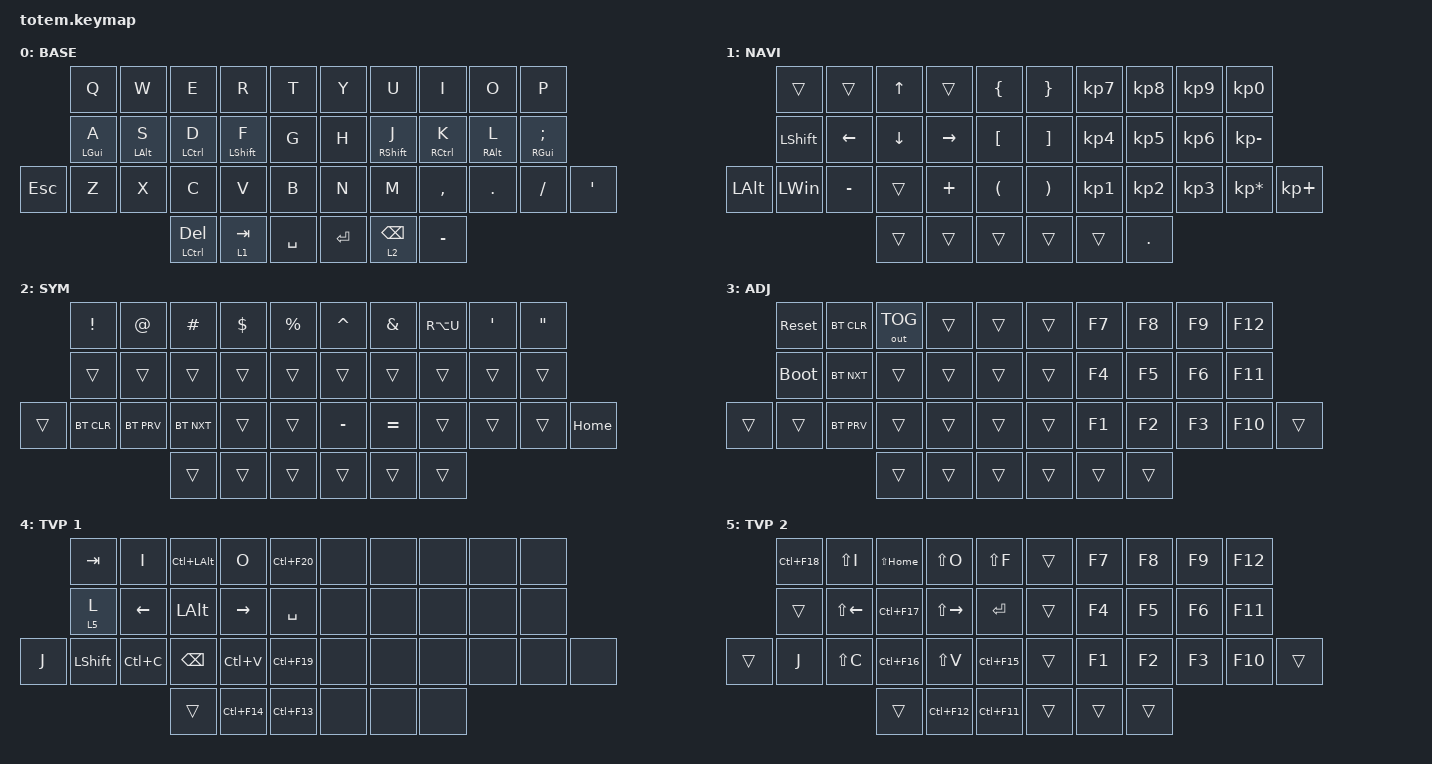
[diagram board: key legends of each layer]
//
//                                                        ▀▀▀▀▀     ▀▀▀▀▀          ▀▀█▀▀
//                                                        ▄▀▀▀▄  ▄  ▄▀▀▀▄  ▄  ▄▀▀▀▄  █  ▄▀▀▀▄
//                                                        █   █  █  █   █  █  █   █  █  █   █
//                                                         ▀▀▀   █   ▀▀▀   █   ▀▀▀   ▀   ▀▀▀
//                                                               █      ▄▄▄█▄▄▄    █   █  
//                                                               ▀      █  █  █     █▄█
//                                                             ▀▀▀▀▀    █  █  █      ▀
//                                                                      ▀  ▀  ▀
//
// ▄▄▄▄▄▄▄▄▄▄▄▄▄▄▄▄▄▄▄▄▄▄▄▄▄▄▄▄▄▄▄▄▄▄▄▄▄▄▄▄▄▄▄▄▄▄▄▄▄▄▄▄▄▄▄▄▄▄▄▄▄▄▄▄▄▄▄▄▄▄▄▄▄▄▄▄▄▄▄▄▄▄▄▄▄▄▄▄▄▄▄▄▄▄▄▄▄▄▄▄▄▄▄▄▄▄▄▄▄▄▄▄▄▄▄▄▄▄▄▄▄▄▄▄▄▄▄▄▄▄▄▄▄▄▄▄▄▄▄▄▄▄▄▄▄▄▄▄▄

#include <behaviors.dtsi>
#include <dt-bindings/zmk/bt.h>
#include <dt-bindings/zmk/keys.h>
#include <dt-bindings/zmk/outputs.h>

#define BASE 0
#define NAV  1
#define SYM  2
#define ADJ  3
#define TVP1 4
#define TVP2 5

&mt {
    quick-tap-ms = <100>;
    global-quick-tap;
    flavor = "tap-preferred";
    tapping-term-ms = <170>;
};

/ {
    combos {
        compatible = "zmk,combos";

        combo_esc {
            timeout-ms = <50>;
            key-positions = <0 1>;
            bindings = <&kp ESC>;
        };

        combo_tvp {
            timeout-ms = <100>;
            key-positions = <11 12 13>;
            bindings = <&tog 4>;
        };
    };

    macros {
        gif: gif {
            label = "giphy";
            compatible = "zmk,behavior-macro";
            #binding-cells = <0>;
            bindings =
                <&macro_press>,
                <&kp LSHFT>,
                <&macro_tap>,
                <&kp N2>,
                <&macro_release>,
                <&kp LSHFT>,
                <&macro_tap>,
                <&kp G &kp I &kp F>;
        };
    };

    keymap {
        compatible = "zmk,keymap";

        // ▄▄▄▄▄▄▄▄▄▄▄▄▄▄▄▄▄▄▄▄▄▄▄▄▄▄▄▄▄▄▄▄▄▄▄▄▄▄▄▄▄▄▄▄▄▄▄▄▄▄▄▄▄▄▄▄▄▄▄▄▄▄▄▄▄▄▄▄▄▄▄▄▄▄▄▄▄▄▄▄▄▄▄▄▄▄▄▄▄▄▄▄▄▄▄▄▄▄▄▄▄▄▄▄▄▄▄▄▄▄▄▄▄▄▄▄▄▄▄▄▄▄▄▄▄▄▄▄▄▄▄▄▄▄▄▄▄▄▄▄▄▄▄▄▄▄▄▄▄

        base_layer {
            // ┏━━━━━━━━━━━━━━━━━━━━━━━━━━━━━━━━━━━━━━━┓

            label = "BASE";

            // ┗━━━━━━━━━━━━━━━━━━━━━━━━━━━━━━━━━━━━━━━┛
            //             ┏━━━━━━━━━━━┳━━━━━━━━━━━┳━━━━━━━━━━━┳━━━━━━━━━━━┳━━━━━━━━━━━┓   ┏━━━━━━━━━━━┳━━━━━━━━━━━┳━━━━━━━━━━━┳━━━━━━━━━━━┳━━━━━━━━━━━┓
            //             ┃     Q     ┃     W     ┃     F     ┃     P     ┃     G     ┃   ┃     J     ┃     L     ┃     U     ┃     Y     ┃     ;     ┃
            //             ┣━━━━━━━━━━━╋━━━━━━━━━━━╋━━━━━━━━━━━╋━━━━━━━━━━━╋━━━━━━━━━━━┫   ┣━━━━━━━━━━━╋━━━━━━━━━━━╋━━━━━━━━━━━╋━━━━━━━━━━━╋━━━━━━━━━━━┫
            //             ┃     A     ┃     R     ┃     S     ┃     T     ┃     D     ┃   ┃     H     ┃     N     ┃     E     ┃     I     ┃     O     ┃
            // ┏━━━━━━━━━━━╋━━━━━━━━━━━╋━━━━━━━━━━━╋━━━━━━━━━━━╋━━━━━━━━━━━╋━━━━━━━━━━━┫   ┣━━━━━━━━━━━╋━━━━━━━━━━━╋━━━━━━━━━━━╋━━━━━━━━━━━╋━━━━━━━━━━━╋━━━━━━━━━━━┓
            // ┃     Q     ┃     Z     ┃     X     ┃     C     ┃     V     ┃     B     ┃   ┃     K     ┃     M     ┃     ,     ┃     .     ┃     /     ┃     \     ┃
            // ┗━━━━━━━━━━━┻━━━━━━━━━━━┻━━━━━━━━━━━╋━━━━━━━━━━━╋━━━━━━━━━━━╋━━━━━━━━━━━┫   ┣━━━━━━━━━━━╋━━━━━━━━━━━╋━━━━━━━━━━━╋━━━━━━━━━━━┻━━━━━━━━━━━┻━━━━━━━━━━━┛
            //                                     ┃    DEL    ┃    TAB    ┃    SPC    ┃   ┃   ENTER   ┃           ┃   BSPC    ┃
            //                                     ┗━━━━━━━━━━━┻━━━━━━━━━━━┻━━━━━━━━━━━┛   ┗━━━━━━━━━━━┻━━━━━━━━━━━┻━━━━━━━━━━━┛

            bindings = <
            &kp Q       &kp W       &kp E             &kp R        &kp T        &kp Y    &kp U            &kp I        &kp O       &kp P
            &mt LGUI A  &mt LALT S  &mt LCTRL D       &mt LSHFT F  &kp G        &kp H    &mt RSHFT J      &mt RCTRL K  &mt RALT L  &mt RGUI SEMICOLON
&kp ESCAPE  &kp Z       &kp X       &kp C             &kp V        &kp B        &kp N    &kp M            &kp COMMA    &kp DOT     &kp FSLH            &kp SQT
                                    &mt LCTRL DELETE  &lt 1 TAB    &kp SPACE    &kp RET  &lt 2 BACKSPACE  &kp MINUS
            >;
        };

        // ▄▄▄▄▄▄▄▄▄▄▄▄▄▄▄▄▄▄▄▄▄▄▄▄▄▄▄▄▄▄▄▄▄▄▄▄▄▄▄▄▄▄▄▄▄▄▄▄▄▄▄▄▄▄▄▄▄▄▄▄▄▄▄▄▄▄▄▄▄▄▄▄▄▄▄▄▄▄▄▄▄▄▄▄▄▄▄▄▄▄▄▄▄▄▄▄▄▄▄▄▄▄▄▄▄▄▄▄▄▄▄▄▄▄▄▄▄▄▄▄▄▄▄▄▄▄▄▄▄▄▄▄▄▄▄▄▄▄▄▄▄▄▄▄▄▄▄▄▄

        nav_layer {
            // ┏━━━━━━━━━━━━━━━━━━━━━━━━━━━━━━━━━━━━━━━┓

            label = "NAVI";

            // ┗━━━━━━━━━━━━━━━━━━━━━━━━━━━━━━━━━━━━━━━┛
            //             ┏━━━━━━━━━━━┳━━━━━━━━━━━┳━━━━━━━━━━━┳━━━━━━━━━━━┳━━━━━━━━━━━┓   ┏━━━━━━━━━━━┳━━━━━━━━━━━┳━━━━━━━━━━━┳━━━━━━━━━━━┳━━━━━━━━━━━┓
            //             ┃           ┃           ┃     UP    ┃           ┃     {     ┃   ┃     }     ┃     7     ┃     8     ┃     9     ┃     +     ┃
            //             ┣━━━━━━━━━━━╋━━━━━━━━━━━╋━━━━━━━━━━━╋━━━━━━━━━━━╋━━━━━━━━━━━┫   ┣━━━━━━━━━━━╋━━━━━━━━━━━╋━━━━━━━━━━━╋━━━━━━━━━━━╋━━━━━━━━━━━┫
            //             ┃   SHIFT   ┃   LEFT    ┃    DOWN   ┃   RIGHT   ┃     [     ┃   ┃     ]     ┃     4     ┃     5     ┃     6     ┃     -     ┃
            // ┏━━━━━━━━━━━╋━━━━━━━━━━━╋━━━━━━━━━━━╋━━━━━━━━━━━╋━━━━━━━━━━━╋━━━━━━━━━━━┫   ┣━━━━━━━━━━━╋━━━━━━━━━━━╋━━━━━━━━━━━╋━━━━━━━━━━━╋━━━━━━━━━━━╋━━━━━━━━━━━┓
            // ┃           ┃           ┃   P UP    ┃  C LOCK   ┃  P DOWN   ┃     (     ┃   ┃     )     ┃     1     ┃     2     ┃     3     ┃     *     ┃           ┃
            // ┗━━━━━━━━━━━┻━━━━━━━━━━━┻━━━━━━━━━━━╋━━━━━━━━━━━╋━━━━━━━━━━━╋━━━━━━━━━━━┫   ┣━━━━━━━━━━━╋━━━━━━━━━━━╋━━━━━━━━━━━╋━━━━━━━━━━━┻━━━━━━━━━━━┻━━━━━━━━━━━┛
            //                                     ┃           ┃    TAB    ┃    SPC    ┃   ┃    DEL    ┃     0     ┃           ┃
            //                                     ┗━━━━━━━━━━━┻━━━━━━━━━━━┻━━━━━━━━━━━┛   ┗━━━━━━━━━━━┻━━━━━━━━━━━┻━━━━━━━━━━━┛

            bindings = <
              &trans        &trans     &kp UP    &trans     &kp LBRC    &kp RBRC  &kp KP_N7  &kp KP_N8   &kp KP_N9  &kp KP_NUMBER_0
              &kp LSHFT     &kp LEFT   &kp DOWN  &kp RIGHT  &kp LBKT    &kp RBKT  &kp KP_N4  &kp KP_N5   &kp KP_N6  &kp KP_MINUS
&kp LEFT_ALT  &kp LEFT_WIN  &kp MINUS  &trans    &kp PLUS   &kp LPAR    &kp RPAR  &kp KP_N1  &kp KP_N2   &kp KP_N3  &kp KP_MULTIPLY  &kp KP_PLUS
                                       &trans    &trans     &trans      &trans    &trans     &kp PERIOD
            >;
        };

        // ▄▄▄▄▄▄▄▄▄▄▄▄▄▄▄▄▄▄▄▄▄▄▄▄▄▄▄▄▄▄▄▄▄▄▄▄▄▄▄▄▄▄▄▄▄▄▄▄▄▄▄▄▄▄▄▄▄▄▄▄▄▄▄▄▄▄▄▄▄▄▄▄▄▄▄▄▄▄▄▄▄▄▄▄▄▄▄▄▄▄▄▄▄▄▄▄▄▄▄▄▄▄▄▄▄▄▄▄▄▄▄▄▄▄▄▄▄▄▄▄▄▄▄▄▄▄▄▄▄▄▄▄▄▄▄▄▄▄▄▄▄▄▄▄▄▄▄▄▄

        sim_layer {
            // ┏━━━━━━━━━━━━━━━━━━━━━━━━━━━━━━━━━━━━━━━┓

            label = "SYM";

            // ┗━━━━━━━━━━━━━━━━━━━━━━━━━━━━━━━━━━━━━━━┛
            //             ┏━━━━━━━━━━━┳━━━━━━━━━━━┳━━━━━━━━━━━┳━━━━━━━━━━━┳━━━━━━━━━━━┓   ┏━━━━━━━━━━━┳━━━━━━━━━━━┳━━━━━━━━━━━┳━━━━━━━━━━━┳━━━━━━━━━━━┓
            //             ┃     !     ┃     @     ┃     #     ┃     $     ┃     %     ┃   ┃     ˆ     ┃     &     ┃     Ü     ┃     '     ┃     "     ┃
            //             ┣━━━━━━━━━━━╋━━━━━━━━━━━╋━━━━━━━━━━━╋━━━━━━━━━━━╋━━━━━━━━━━━┫   ┣━━━━━━━━━━━╋━━━━━━━━━━━╋━━━━━━━━━━━╋━━━━━━━━━━━╋━━━━━━━━━━━┫
            //             ┃     Ä     ┃           ┃    SZ     ┃           ┃           ┃   ┃   MUTE    ┃   YEN     ┃   EURO    ┃  POUND    ┃     Ö     ┃
            // ┏━━━━━━━━━━━╋━━━━━━━━━━━╋━━━━━━━━━━━╋━━━━━━━━━━━╋━━━━━━━━━━━╋━━━━━━━━━━━┫   ┣━━━━━━━━━━━╋━━━━━━━━━━━╋━━━━━━━━━━━╋━━━━━━━━━━━╋━━━━━━━━━━━╋━━━━━━━━━━━┓
            // ┃           ┃  EMAIL1   ┃  EMAIL2   ┃           ┃           ┃           ┃   ┃   VOL-    ┃   VOL+    ┃   LAST    ┃   NEXT    ┃     \     ┃           ┃
            // ┗━━━━━━━━━━━┻━━━━━━━━━━━┻━━━━━━━━━━━╋━━━━━━━━━━━╋━━━━━━━━━━━╋━━━━━━━━━━━┫   ┣━━━━━━━━━━━╋━━━━━━━━━━━╋━━━━━━━━━━━╋━━━━━━━━━━━┻━━━━━━━━━━━┻━━━━━━━━━━━┛
            //                                     ┃           ┃    GIF    ┃    ADJ    ┃   ┃           ┃           ┃           ┃
            //                                     ┗━━━━━━━━━━━┻━━━━━━━━━━━┻━━━━━━━━━━━┛   ┗━━━━━━━━━━━┻━━━━━━━━━━━┻━━━━━━━━━━━┛

            bindings = <
        &kp EXCL    &kp AT      &kp HASH    &kp DLLR  &kp PRCNT    &kp CARET  &kp AMPS   &kp RA(U)  &kp SQT  &kp DQT
        &trans      &trans      &trans      &trans    &trans       &trans     &trans     &trans     &trans   &trans
&trans  &bt BT_CLR  &bt BT_PRV  &bt BT_NXT  &trans    &trans       &kp MINUS  &kp EQUAL  &trans     &trans   &trans   &kp HOME
                                &trans      &trans    &trans       &trans     &trans     &trans
            >;
        };

        // ▄▄▄▄▄▄▄▄▄▄▄▄▄▄▄▄▄▄▄▄▄▄▄▄▄▄▄▄▄▄▄▄▄▄▄▄▄▄▄▄▄▄▄▄▄▄▄▄▄▄▄▄▄▄▄▄▄▄▄▄▄▄▄▄▄▄▄▄▄▄▄▄▄▄▄▄▄▄▄▄▄▄▄▄▄▄▄▄▄▄▄▄▄▄▄▄▄▄▄▄▄▄▄▄▄▄▄▄▄▄▄▄▄▄▄▄▄▄▄▄▄▄▄▄▄▄▄▄▄▄▄▄▄▄▄▄▄▄▄▄▄▄▄▄▄▄▄▄▄

        adjust_layer {
            // ┏━━━━━━━━━━━━━━━━━━━━━━━━━━━━━━━━━━━━━━━┓

            label = "ADJ";

            // ┗━━━━━━━━━━━━━━━━━━━━━━━━━━━━━━━━━━━━━━━┛
            //             ┏━━━━━━━━━━━┳━━━━━━━━━━━┳━━━━━━━━━━━┳━━━━━━━━━━━┳━━━━━━━━━━━┓   ┏━━━━━━━━━━━┳━━━━━━━━━━━┳━━━━━━━━━━━┳━━━━━━━━━━━┳━━━━━━━━━━━┓
            //             ┃   RESET   ┃ BT CLEAR  ┃  OUT TOG  ┃           ┃           ┃   ┃           ┃    F7     ┃    F8     ┃    F9     ┃    F12    ┃
            //             ┣━━━━━━━━━━━╋━━━━━━━━━━━╋━━━━━━━━━━━╋━━━━━━━━━━━╋━━━━━━━━━━━┫   ┣━━━━━━━━━━━╋━━━━━━━━━━━╋━━━━━━━━━━━╋━━━━━━━━━━━╋━━━━━━━━━━━┫
            //             ┃ BOOTLOAD  ┃ BT NEXT   ┃           ┃           ┃           ┃   ┃           ┃    F4     ┃    F5     ┃    F6     ┃    F11    ┃
            // ┏━━━━━━━━━━━╋━━━━━━━━━━━╋━━━━━━━━━━━╋━━━━━━━━━━━╋━━━━━━━━━━━╋━━━━━━━━━━━┫   ┣━━━━━━━━━━━╋━━━━━━━━━━━╋━━━━━━━━━━━╋━━━━━━━━━━━╋━━━━━━━━━━━╋━━━━━━━━━━━┓
            // ┃           ┃           ┃ BT PREV   ┃           ┃           ┃           ┃   ┃           ┃    F1     ┃    F2     ┃    F3     ┃    F10    ┃           ┃
            // ┗━━━━━━━━━━━┻━━━━━━━━━━━┻━━━━━━━━━━━╋━━━━━━━━━━━╋━━━━━━━━━━━╋━━━━━━━━━━━┫   ┣━━━━━━━━━━━╋━━━━━━━━━━━╋━━━━━━━━━━━╋━━━━━━━━━━━┻━━━━━━━━━━━┻━━━━━━━━━━━┛
            //                                     ┃           ┃           ┃           ┃   ┃           ┃           ┃           ┃
            //                                     ┗━━━━━━━━━━━┻━━━━━━━━━━━┻━━━━━━━━━━━┛   ┗━━━━━━━━━━━┻━━━━━━━━━━━┻━━━━━━━━━━━┛

            bindings = <
        &sys_reset   &bt BT_CLR  &out OUT_TOG  &trans  &trans    &trans  &kp F7  &kp F8  &kp F9  &kp F12
        &bootloader  &bt BT_NXT  &trans        &trans  &trans    &trans  &kp F4  &kp F5  &kp F6  &kp F11
&trans  &trans       &bt BT_PRV  &trans        &trans  &trans    &trans  &kp F1  &kp F2  &kp F3  &kp F10  &trans
                                 &trans        &trans  &trans    &trans  &trans  &trans
            >;
        };

        // ▄▄▄▄▄▄▄▄▄▄▄▄▄▄▄▄▄▄▄▄▄▄▄▄▄▄▄▄▄▄▄▄▄▄▄▄▄▄▄▄▄▄▄▄▄▄▄▄▄▄▄▄▄▄▄▄▄▄▄▄▄▄▄▄▄▄▄▄▄▄▄▄▄▄▄▄▄▄▄▄▄▄▄▄▄▄▄▄▄▄▄▄▄▄▄▄▄▄▄▄▄▄▄▄▄▄▄▄▄▄▄▄▄▄▄▄▄▄▄▄▄▄▄▄▄▄▄▄▄▄▄▄▄▄▄▄▄▄▄▄▄▄▄▄▄▄▄▄▄

        tvp1_layer {
            // ┏━━━━━━━━━━━━━━━━━━━━━━━━━━━━━━━━━━━━━━━┓

            label = "TVP 1";

            // ┗━━━━━━━━━━━━━━━━━━━━━━━━━━━━━━━━━━━━━━━┛
            //             ┏━━━━━━━━━━━┳━━━━━━━━━━━┳━━━━━━━━━━━┳━━━━━━━━━━━┳━━━━━━━━━━━┓   ┏━━━━━━━━━━━┳━━━━━━━━━━━┳━━━━━━━━━━━┳━━━━━━━━━━━┳━━━━━━━━━━━┓
            //             ┃ NEXT FILE ┃ MARK IN   ┃ ROTATE    ┃ MARK OUT  ┃ SHOW SNAP ┃   ┃           ┃           ┃           ┃           ┃           ┃
            //             ┣━━━━━━━━━━━╋━━━━━━━━━━━╋━━━━━━━━━━━╋━━━━━━━━━━━╋━━━━━━━━━━━┫   ┣━━━━━━━━━━━╋━━━━━━━━━━━╋━━━━━━━━━━━╋━━━━━━━━━━━╋━━━━━━━━━━━┫
            //             ┃ TVP II    ┃ LEFT      ┃ PAN       ┃ RIGHT     ┃ PLAY/FLIP ┃   ┃           ┃           ┃           ┃           ┃           ┃
            // ┏━━━━━━━━━━━╋━━━━━━━━━━━╋━━━━━━━━━━━╋━━━━━━━━━━━╋━━━━━━━━━━━╋━━━━━━━━━━━┫   ┣━━━━━━━━━━━╋━━━━━━━━━━━╋━━━━━━━━━━━╋━━━━━━━━━━━╋━━━━━━━━━━━╋━━━━━━━━━━━┓
            // ┃ FULLSCR   ┃ SHIFT     ┃ COPY      ┃ DELETE    ┃ PASTE     ┃ IMG MARK  ┃   ┃           ┃           ┃           ┃           ┃           ┃           ┃
            // ┗━━━━━━━━━━━┻━━━━━━━━━━━┻━━━━━━━━━━━╋━━━━━━━━━━━╋━━━━━━━━━━━╋━━━━━━━━━━━┫   ┣━━━━━━━━━━━╋━━━━━━━━━━━╋━━━━━━━━━━━╋━━━━━━━━━━━┻━━━━━━━━━━━┻━━━━━━━━━━━┛
            //                                     ┃           ┃ UNDO/SAVE ┃  SEL/MOV  ┃   ┃           ┃           ┃           ┃
            //                                     ┗━━━━━━━━━━━┻━━━━━━━━━━━┻━━━━━━━━━━━┛   ┗━━━━━━━━━━━┻━━━━━━━━━━━┻━━━━━━━━━━━┛

            bindings = <
       &kp TAB    &kp I      &kp LC(LALT)  &kp O        &kp LC(F20)    &none  &none  &none  &none  &none
       &lt 5 L    &kp LEFT   &kp LALT      &kp RIGHT    &kp SPACE      &none  &none  &none  &none  &none
&kp J  &kp LSHFT  &kp LC(C)  &kp BSPC      &kp LC(V)    &kp LC(F19)    &none  &none  &none  &none  &none  &none
                             &trans        &kp LC(F14)  &kp LC(F13)    &none  &none  &none
            >;
        };

        // ▄▄▄▄▄▄▄▄▄▄▄▄▄▄▄▄▄▄▄▄▄▄▄▄▄▄▄▄▄▄▄▄▄▄▄▄▄▄▄▄▄▄▄▄▄▄▄▄▄▄▄▄▄▄▄▄▄▄▄▄▄▄▄▄▄▄▄▄▄▄▄▄▄▄▄▄▄▄▄▄▄▄▄▄▄▄▄▄▄▄▄▄▄▄▄▄▄▄▄▄▄▄▄▄▄▄▄▄▄▄▄▄▄▄▄▄▄▄▄▄▄▄▄▄▄▄▄▄▄▄▄▄▄▄▄▄▄▄▄▄▄▄▄▄▄▄▄▄▄

        tvp2_layer {
            // ┏━━━━━━━━━━━━━━━━━━━━━━━━━━━━━━━━━━━━━━━┓

            label = "TVP 2";

            // ┗━━━━━━━━━━━━━━━━━━━━━━━━━━━━━━━━━━━━━━━┛
            //             ┏━━━━━━━━━━━┳━━━━━━━━━━━┳━━━━━━━━━━━┳━━━━━━━━━━━┳━━━━━━━━━━━┓   ┏━━━━━━━━━━━┳━━━━━━━━━━━┳━━━━━━━━━━━┳━━━━━━━━━━━┳━━━━━━━━━━━┓
            //             ┃ SOLO      ┃ TOGGLE IN ┃ RESET ROT ┃ TOGGLE OUT┃ TAKE SNAP ┃   ┃           ┃           ┃           ┃           ┃           ┃
            //             ┣━━━━━━━━━━━╋━━━━━━━━━━━╋━━━━━━━━━━━╋━━━━━━━━━━━╋━━━━━━━━━━━┫   ┣━━━━━━━━━━━╋━━━━━━━━━━━╋━━━━━━━━━━━╋━━━━━━━━━━━╋━━━━━━━━━━━┫
            //             ┃ ---       ┃ LAST KEY  ┃ NEW KEY   ┃ NEXT KEY  ┃ ENTER     ┃   ┃           ┃           ┃           ┃           ┃           ┃
            // ┏━━━━━━━━━━━╋━━━━━━━━━━━╋━━━━━━━━━━━╋━━━━━━━━━━━╋━━━━━━━━━━━╋━━━━━━━━━━━┫   ┣━━━━━━━━━━━╋━━━━━━━━━━━╋━━━━━━━━━━━╋━━━━━━━━━━━╋━━━━━━━━━━━╋━━━━━━━━━━━┓
            // ┃           ┃ FULLSCR   ┃ CPY2BRUSH ┃ DEL HEAD  ┃ PSTinPLACE┃ BOOK MARK ┃   ┃           ┃           ┃           ┃           ┃           ┃           ┃
            // ┗━━━━━━━━━━━┻━━━━━━━━━━━┻━━━━━━━━━━━╋━━━━━━━━━━━╋━━━━━━━━━━━╋━━━━━━━━━━━┫   ┣━━━━━━━━━━━╋━━━━━━━━━━━╋━━━━━━━━━━━╋━━━━━━━━━━━┻━━━━━━━━━━━┻━━━━━━━━━━━┛
            //                                     ┃           ┃ REDO/SAV1 ┃TRANS/WARP ┃   ┃           ┃           ┃           ┃
            //                                     ┗━━━━━━━━━━━┻━━━━━━━━━━━┻━━━━━━━━━━━┛   ┗━━━━━━━━━━━┻━━━━━━━━━━━┻━━━━━━━━━━━┛

            bindings = <
        &kp LC(F18)  &kp LS(I)     &kp LS(HOME)  &kp LS(O)      &kp LS(F)      &trans  &kp F7  &kp F8  &kp F9  &kp F12
        &trans       &kp LS(LEFT)  &kp LC(F17)   &kp LS(RIGHT)  &kp RET        &trans  &kp F4  &kp F5  &kp F6  &kp F11
&trans  &kp J        &kp LS(C)     &kp LC(F16)   &kp LS(V)      &kp LC(F15)    &trans  &kp F1  &kp F2  &kp F3  &kp F10  &trans
                                   &trans        &kp LC(F12)    &kp LC(F11)    &trans  &trans  &trans
            >;
        };
    };
};
